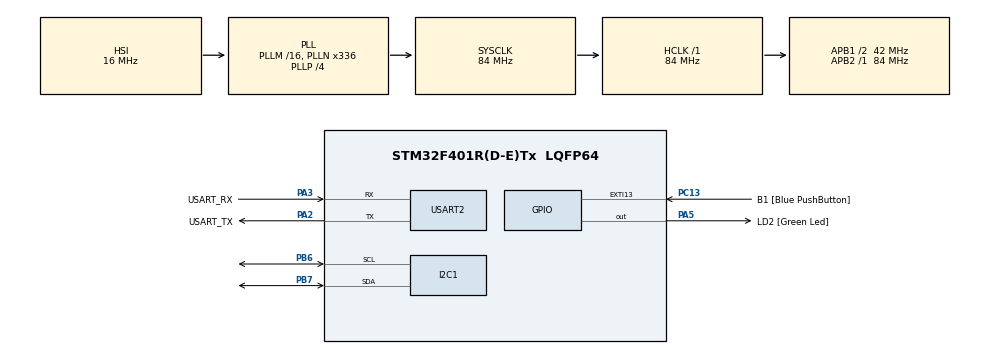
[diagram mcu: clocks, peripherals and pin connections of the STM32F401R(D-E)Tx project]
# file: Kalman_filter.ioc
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I2C1.I2C_Mode=I2C_Fast
Mcu.Family=STM32F4
Mcu.Name=STM32F401R(D-E)Tx
Mcu.Package=LQFP64
NVIC.PriorityGroup=NVIC_PRIORITYGROUP_4
PA13.GPIO_Label=TMS
PA13.Mode=Trace_Asynchronous_SW
PA13.Signal=SYS_JTMS-SWDIO
PA14.GPIO_Label=TCK
PA14.Mode=Trace_Asynchronous_SW
PA14.Signal=SYS_JTCK-SWCLK
PA2.GPIO_Label=USART_TX
PA2.GPIO_Mode=GPIO_MODE_AF_PP
PA2.GPIO_PuPd=GPIO_NOPULL
PA2.GPIO_Speed=GPIO_SPEED_FREQ_LOW
PA2.Mode=Asynchronous
PA2.Signal=USART2_TX
PA3.GPIO_Label=USART_RX
PA3.GPIO_Mode=GPIO_MODE_AF_PP
PA3.GPIO_PuPd=GPIO_NOPULL
PA3.GPIO_Speed=GPIO_SPEED_FREQ_LOW
PA3.Mode=Asynchronous
PA3.Signal=USART2_RX
PA5.GPIO_Label=LD2 [Green Led]
PA5.GPIO_Mode=GPIO_MODE_OUTPUT_PP
PA5.GPIO_PuPd=GPIO_NOPULL
PA5.GPIO_Speed=GPIO_SPEED_FREQ_LOW
PA5.Signal=GPIO_Output
PB3.GPIO_Label=SWO
PB3.Mode=Trace_Asynchronous_SW
PB3.Signal=SYS_JTDO-SWO
PB6.Mode=I2C
PB6.Signal=I2C1_SCL
PB7.Mode=I2C
PB7.Signal=I2C1_SDA
PC13-ANTI_TAMP.GPIO_Label=B1 [Blue PushButton]
PC13-ANTI_TAMP.GPIO_ModeDefaultEXTI=GPIO_MODE_IT_FALLING
PC13-ANTI_TAMP.GPIO_PuPd=GPIO_NOPULL
PC13-ANTI_TAMP.Signal=GPXTI13
PC14-OSC32_IN.Mode=LSE-External-Oscillator
PC14-OSC32_IN.Signal=RCC_OSC32_IN
PC15-OSC32_OUT.Mode=LSE-External-Oscillator
PC15-OSC32_OUT.Signal=RCC_OSC32_OUT
PH0\ -\ OSC_IN.Mode=HSE-External-Clock-Source
PH0\ -\ OSC_IN.Signal=RCC_OSC_IN
PH1\ -\ OSC_OUT.Mode=HSE-External-Clock-Source
PH1\ -\ OSC_OUT.Signal=RCC_OSC_OUT
ProjectManager.HeapSize=0x200
ProjectManager.StackSize=0x400
ProjectManager.TargetToolchain=STM32CubeIDE
RCC.48MHZClocksFreq_Value=48000000
RCC.AHBFreq_Value=84000000
RCC.APB1CLKDivider=RCC_HCLK_DIV2
RCC.APB1Freq_Value=42000000
RCC.APB1TimFreq_Value=84000000
RCC.APB2Freq_Value=84000000
RCC.APB2TimFreq_Value=84000000
RCC.CortexFreq_Value=84000000
RCC.HCLKFreq_Value=84000000
RCC.HSE_VALUE=8000000
RCC.HSI_VALUE=16000000
RCC.PLLN=336
RCC.PLLP=RCC_PLLP_DIV4
RCC.PLLQ=7
RCC.SYSCLKFreq_VALUE=84000000
RCC.SYSCLKSource=RCC_SYSCLKSOURCE_PLLCLK
RCC.VCOOutputFreq_Value=336000000
USART2.VirtualMode=VM_ASYNC
board=NUCLEO-F401RE

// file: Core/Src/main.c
/* USER CODE BEGIN Header */
/**
  ******************************************************************************
  * @file           : main.c
  * @brief          : Main program body
  ******************************************************************************
  * @attention
  *
  * Copyright (c) 2026 STMicroelectronics.
  * All rights reserved.
  *
  * This software is licensed under terms that can be found in the LICENSE file
  * in the root directory of this software component.
  * If no LICENSE file comes with this software, it is provided AS-IS.
  *
  ******************************************************************************
  */
/* USER CODE END Header */
#include "main.h"

/* USER CODE BEGIN Includes */
#include <stdio.h>
#include <math.h>
#include "mpu6050.h"
#include "ekf_quat.h"
#include "comp_filter.h"
/* USER CODE END Includes */

I2C_HandleTypeDef hi2c1;

UART_HandleTypeDef huart2;

/* USER CODE BEGIN PV */
#define RAD2DEG         57.2957795f
#define LOOP_PERIOD_MS  10U                 /* 100 Hz */

static MPU6050_Data_t imu;
static float          gxBias, gyBias;
static uint32_t       lastCyc, nextTick;
static char           txt[96];

#define DEG2RAD     0.0174532925f
#define CSV_SOURCE  2          /* which filter goes in the CSV: 0 = Kalman, 1 = EKF, 2 = Complementary */

#define COMP_TAU    0.5f
static Comp_t compRoll, compPitch;
#define COMP_ALPHA  0.68f

volatile float dbg_compRoll, dbg_compPitch;

static EKF_Quat_t ekf;
static float gzBias;

volatile float dbg_accRoll, dbg_accPitch;
volatile float dbg_ekfRoll, dbg_ekfPitch, dbg_ekfYaw;

volatile uint32_t dbg_cyc_acc, dbg_cyc_ekf, dbg_cyc_comp;
/* USER CODE END PV */

void SystemClock_Config(void);
static void MX_GPIO_Init(void);
static void MX_USART2_UART_Init(void);
static void MX_I2C1_Init(void);

int main(void)
{

  /* MCU Configuration--------------------------------------------------------*/

  /* Reset of all peripherals, Initializes the Flash interface and the Systick. */
  HAL_Init();

  /* Configure the system clock */
  SystemClock_Config();

  /* Initialize all configured peripherals */
  MX_GPIO_Init();
  MX_USART2_UART_Init();
  MX_I2C1_Init();
  /* USER CODE BEGIN 2 */
  /* DWT cycle counter: precise dt measurement */
    CoreDebug->DEMCR |= CoreDebug_DEMCR_TRCENA_Msk;
    DWT->CYCCNT = 0;
    DWT->CTRL  |= DWT_CTRL_CYCCNTENA_Msk;

    if (MPU6050_Init(&hi2c1) != HAL_OK) {
        Error_Handler();
    }

    /* Gyro offset calibration: keep the board still for ~1 s */
    for (int i = 0; i < 500; i++) {
        MPU6050_Read(&hi2c1, &imu);
        gxBias += imu.gx;
        gyBias += imu.gy;
        gzBias += imu.gz;
        HAL_Delay(2);
    }
    gxBias /= 500.0f;
    gyBias /= 500.0f;
    gzBias /= 500.0f;

    /* Initial angles from the accelerometer */
    MPU6050_Read(&hi2c1, &imu);
    EKF_Init(&ekf, 0.01f, 0.01f);        /* sigma_gyro (rad/s), sigma_acc (g) : the values to tune */
    EKF_SetFromAccel(&ekf, imu.ax, imu.ay, imu.az);

    Comp_Init(&compRoll,  COMP_ALPHA);
	Comp_Init(&compPitch, COMP_ALPHA);
	Comp_SetAngle(&compRoll,  atan2f(imu.ay, imu.az) * RAD2DEG);
	Comp_SetAngle(&compPitch, atanf(-imu.ax / sqrtf(imu.ay * imu.ay + imu.az * imu.az)) * RAD2DEG);

    lastCyc  = DWT->CYCCNT;
    nextTick = HAL_GetTick() + LOOP_PERIOD_MS;
  /* USER CODE END 2 */

  /* Infinite loop */
  while (1)
  {

    /* USER CODE BEGIN 3 */
	  if ((int32_t)(HAL_GetTick() - nextTick) >= 0)
	  {
		nextTick += LOOP_PERIOD_MS;

		if (MPU6050_Read(&hi2c1, &imu) == HAL_OK)
		{
			uint32_t nowCyc = DWT->CYCCNT;
			float dt = (float)(nowCyc - lastCyc) / (float)SystemCoreClock;
			lastCyc = nowCyc;

			float gx = imu.gx - gxBias;
			float gy = imu.gy - gyBias;
			float gz = imu.gz - gzBias;

			/* EKF: needs the real gy, so it comes before the gy = -gy line */
			float eRoll, ePitch, eYaw;
			uint32_t c0 = DWT->CYCCNT;
			EKF_Predict(&ekf, gx * DEG2RAD, gy * DEG2RAD, gz * DEG2RAD, dt);
			EKF_UpdateAccel(&ekf, imu.ax, imu.ay, imu.az);
			EKF_GetEuler(&ekf, &eRoll, &ePitch, &eYaw);
			dbg_cyc_ekf = DWT->CYCCNT - c0;

			dbg_ekfRoll  = eRoll;
			dbg_ekfPitch = ePitch;
			dbg_ekfYaw   = eYaw;

			/* Angles from the accelerometer only */
			uint32_t c1 = DWT->CYCCNT;
			float accRoll  = atan2f(imu.ay, imu.az) * RAD2DEG;
			float accPitch = atanf(-imu.ax / sqrtf(imu.ay * imu.ay + imu.az * imu.az)) * RAD2DEG;
			dbg_cyc_acc = DWT->CYCCNT - c1;

            /* Complementary filter: same inputs as the Kalman (gx for roll, the already-flipped gy for pitch) */
            uint32_t c2 = DWT->CYCCNT;
            float cRoll  = Comp_Update(&compRoll,  accRoll,  gx, dt);
            float cPitch = Comp_Update(&compPitch, accPitch, gy, dt);
            dbg_cyc_comp = DWT->CYCCNT - c2;

            dbg_accRoll   = accRoll;
            dbg_accPitch  = accPitch;

            dbg_compRoll  = cRoll;
            dbg_compPitch = cPitch;

            /* CSV line: accRoll,accPitch,<filter roll>,<filter pitch>  (4 fields, viewers keep working) */
            int n = snprintf(txt, sizeof(txt),
                             "%.2f,%.2f,%.2f,%.2f,%.2f,%.2f,%lu,%lu,%lu\r\n",

                             /* Angles */
                             accRoll, accPitch,
                             dbg_ekfRoll, dbg_ekfPitch,
                             dbg_compRoll, dbg_compPitch,

                             /* CPU cycles */
                             (unsigned long)dbg_cyc_acc,
                             (unsigned long)dbg_cyc_ekf,
                             (unsigned long)dbg_cyc_comp
                            );

            HAL_UART_Transmit(&huart2, (uint8_t *)txt, (uint16_t)n, 50);
		}
	}
  }
  /* USER CODE END 3 */
}

void SystemClock_Config(void)
{
  RCC_OscInitTypeDef RCC_OscInitStruct = {0};
  RCC_ClkInitTypeDef RCC_ClkInitStruct = {0};

  /** Configure the main internal regulator output voltage
  */
  __HAL_RCC_PWR_CLK_ENABLE();
  __HAL_PWR_VOLTAGESCALING_CONFIG(PWR_REGULATOR_VOLTAGE_SCALE2);

  /** Initializes the RCC Oscillators according to the specified parameters
  * in the RCC_OscInitTypeDef structure.
  */
  RCC_OscInitStruct.OscillatorType = RCC_OSCILLATORTYPE_HSI;
  RCC_OscInitStruct.HSIState = RCC_HSI_ON;
  RCC_OscInitStruct.HSICalibrationValue = RCC_HSICALIBRATION_DEFAULT;
  RCC_OscInitStruct.PLL.PLLState = RCC_PLL_ON;
  RCC_OscInitStruct.PLL.PLLSource = RCC_PLLSOURCE_HSI;
  RCC_OscInitStruct.PLL.PLLM = 16;
  RCC_OscInitStruct.PLL.PLLN = 336;
  RCC_OscInitStruct.PLL.PLLP = RCC_PLLP_DIV4;
  RCC_OscInitStruct.PLL.PLLQ = 7;
  if (HAL_RCC_OscConfig(&RCC_OscInitStruct) != HAL_OK)
  {
    Error_Handler();
  }

  /** Initializes the CPU, AHB and APB buses clocks
  */
  RCC_ClkInitStruct.ClockType = RCC_CLOCKTYPE_HCLK|RCC_CLOCKTYPE_SYSCLK
                              |RCC_CLOCKTYPE_PCLK1|RCC_CLOCKTYPE_PCLK2;
  RCC_ClkInitStruct.SYSCLKSource = RCC_SYSCLKSOURCE_PLLCLK;
  RCC_ClkInitStruct.AHBCLKDivider = RCC_SYSCLK_DIV1;
  RCC_ClkInitStruct.APB1CLKDivider = RCC_HCLK_DIV2;
  RCC_ClkInitStruct.APB2CLKDivider = RCC_HCLK_DIV1;

  if (HAL_RCC_ClockConfig(&RCC_ClkInitStruct, FLASH_LATENCY_2) != HAL_OK)
  {
    Error_Handler();
  }
}

static void MX_I2C1_Init(void)
{

  hi2c1.Instance = I2C1;
  hi2c1.Init.ClockSpeed = 400000;
  hi2c1.Init.DutyCycle = I2C_DUTYCYCLE_2;
  hi2c1.Init.OwnAddress1 = 0;
  hi2c1.Init.AddressingMode = I2C_ADDRESSINGMODE_7BIT;
  hi2c1.Init.DualAddressMode = I2C_DUALADDRESS_DISABLE;
  hi2c1.Init.OwnAddress2 = 0;
  hi2c1.Init.GeneralCallMode = I2C_GENERALCALL_DISABLE;
  hi2c1.Init.NoStretchMode = I2C_NOSTRETCH_DISABLE;
  if (HAL_I2C_Init(&hi2c1) != HAL_OK)
  {
    Error_Handler();
  }

}

static void MX_USART2_UART_Init(void)
{

  huart2.Instance = USART2;
  huart2.Init.BaudRate = 115200;
  huart2.Init.WordLength = UART_WORDLENGTH_8B;
  huart2.Init.StopBits = UART_STOPBITS_1;
  huart2.Init.Parity = UART_PARITY_NONE;
  huart2.Init.Mode = UART_MODE_TX_RX;
  huart2.Init.HwFlowCtl = UART_HWCONTROL_NONE;
  huart2.Init.OverSampling = UART_OVERSAMPLING_16;
  if (HAL_UART_Init(&huart2) != HAL_OK)
  {
    Error_Handler();
  }

}

static void MX_GPIO_Init(void)
{
  GPIO_InitTypeDef GPIO_InitStruct = {0};

  /* GPIO Ports Clock Enable */
  __HAL_RCC_GPIOC_CLK_ENABLE();
  __HAL_RCC_GPIOH_CLK_ENABLE();
  __HAL_RCC_GPIOA_CLK_ENABLE();
  __HAL_RCC_GPIOB_CLK_ENABLE();

  /*Configure GPIO pin Output Level */
  HAL_GPIO_WritePin(LD2_GPIO_Port, LD2_Pin, GPIO_PIN_RESET);

  /*Configure GPIO pin : B1_Pin */
  GPIO_InitStruct.Pin = B1_Pin;
  GPIO_InitStruct.Mode = GPIO_MODE_IT_FALLING;
  GPIO_InitStruct.Pull = GPIO_NOPULL;
  HAL_GPIO_Init(B1_GPIO_Port, &GPIO_InitStruct);

  /*Configure GPIO pin : LD2_Pin */
  GPIO_InitStruct.Pin = LD2_Pin;
  GPIO_InitStruct.Mode = GPIO_MODE_OUTPUT_PP;
  GPIO_InitStruct.Pull = GPIO_NOPULL;
  GPIO_InitStruct.Speed = GPIO_SPEED_FREQ_LOW;
  HAL_GPIO_Init(LD2_GPIO_Port, &GPIO_InitStruct);

}

void Error_Handler(void)
{
  __disable_irq();
  while (1)
  {
  }
}
